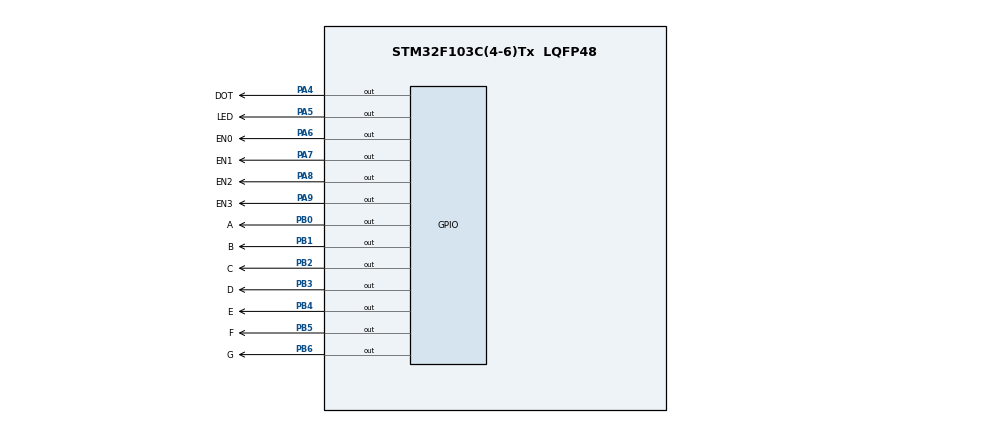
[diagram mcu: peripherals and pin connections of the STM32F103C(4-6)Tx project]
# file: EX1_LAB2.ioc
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Mcu.Family=STM32F1
Mcu.Name=STM32F103C(4-6)Tx
Mcu.Package=LQFP48
NVIC.PriorityGroup=NVIC_PRIORITYGROUP_4
NVIC.TIM2_IRQn=true\:0\:0\:false\:false\:true\:true\:true\:true
PA4.GPIO_Label=DOT
PA4.PinState=GPIO_PIN_SET
PA4.Signal=GPIO_Output
PA5.GPIO_Label=LED
PA5.Signal=GPIO_Output
PA6.GPIO_Label=EN0
PA6.PinState=GPIO_PIN_SET
PA6.Signal=GPIO_Output
PA7.GPIO_Label=EN1
PA7.PinState=GPIO_PIN_SET
PA7.Signal=GPIO_Output
PA8.GPIO_Label=EN2
PA8.PinState=GPIO_PIN_SET
PA8.Signal=GPIO_Output
PA9.GPIO_Label=EN3
PA9.PinState=GPIO_PIN_SET
PA9.Signal=GPIO_Output
PB0.GPIO_Label=A
PB0.PinState=GPIO_PIN_SET
PB0.Signal=GPIO_Output
PB1.GPIO_Label=B
PB1.PinState=GPIO_PIN_SET
PB1.Signal=GPIO_Output
PB2.GPIO_Label=C
PB2.PinState=GPIO_PIN_SET
PB2.Signal=GPIO_Output
PB3.GPIO_Label=D
PB3.PinState=GPIO_PIN_SET
PB3.Signal=GPIO_Output
PB4.GPIO_Label=E
PB4.PinState=GPIO_PIN_SET
PB4.Signal=GPIO_Output
PB5.GPIO_Label=F
PB5.PinState=GPIO_PIN_SET
PB5.Signal=GPIO_Output
PB6.GPIO_Label=G
PB6.PinState=GPIO_PIN_SET
PB6.Signal=GPIO_Output
ProjectManager.HeapSize=0x200
ProjectManager.StackSize=0x400
ProjectManager.TargetToolchain=STM32CubeIDE
RCC.APB1Freq_Value=8000000
RCC.APB2Freq_Value=8000000
TIM2.Period=9
TIM2.Prescaler=7999
VP_SYS_VS_ND.Mode=No_Debug
VP_TIM2_VS_ClockSourceINT.Mode=Internal
board=custom

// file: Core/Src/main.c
/* USER CODE BEGIN Header */
/**
  ******************************************************************************
  * @file           : main.c
  * @brief          : Main program body
  ******************************************************************************
  * @attention
  *
  * Copyright (c) 2025 STMicroelectronics.
  * All rights reserved.
  *
  * This software is licensed under terms that can be found in the LICENSE file
  * in the root directory of this software component.
  * If no LICENSE file comes with this software, it is provided AS-IS.
  *
  ******************************************************************************
  */
/* USER CODE END Header */
#include "main.h"

TIM_HandleTypeDef htim2;

void SystemClock_Config(void);
static void MX_GPIO_Init(void);
static void MX_TIM2_Init(void);

/* USER CODE BEGIN 0 */
#define MAX_LED 4U
#define SCAN_TICKS 25U
#define DOT_TICKS 100U

static volatile uint8_t index_led = 0U;
static volatile uint16_t scan_counter = 0U;
static volatile uint16_t dot_counter = 0U;

#define SEG_ALL_PINS (GPIO_PIN_0 | GPIO_PIN_1 | GPIO_PIN_2 | \
                      GPIO_PIN_3 | GPIO_PIN_4 | GPIO_PIN_5 | \
                      GPIO_PIN_6)

#define DIGIT_ALL_PINS (GPIO_PIN_6 | GPIO_PIN_7 | \
                        GPIO_PIN_8 | GPIO_PIN_9)

static const uint8_t segPattern[10] =
{
    0x3FU, // 0
    0x06U, // 1
    0x5BU, // 2
    0x4FU, // 3
    0x66U, // 4
    0x6DU, // 5
    0x7DU, // 6
    0x07U, // 7
    0x7FU, // 8
    0x6FU  // 9
};

static const uint16_t digitEnablePins[MAX_LED] =
{
    GPIO_PIN_6, // index 0 → EN0 → PA6
    GPIO_PIN_7, // index 1 → EN1 → PA7
    GPIO_PIN_8, // index 2 → EN2 → PA8
    GPIO_PIN_9  // index 3 → EN3 → PA9
};

static const uint8_t ledBuffer[MAX_LED] =
{
    1U, // Digit 0
    2U, // Digit 1
    3U, // Digit 2
    0U  // Digit 3
};

static void disableAllDigits(void)
{
    HAL_GPIO_WritePin(
        GPIOA,
        DIGIT_ALL_PINS,
        GPIO_PIN_SET
    );
}

static void display7SEG(uint8_t number)
{
    if (number > 9U)
    {
        return;
    }

    HAL_GPIO_WritePin(
        GPIOB,
        SEG_ALL_PINS,
        GPIO_PIN_SET
    );

    HAL_GPIO_WritePin(
        GPIOB,
        (uint16_t)segPattern[number],
        GPIO_PIN_RESET
    );
}

static void update7SEG(uint8_t index)
{
    if (index > MAX_LED)
    {
        return;
    }

    disableAllDigits();
    display7SEG(ledBuffer[index]);
    HAL_GPIO_WritePin(
        GPIOA,
        digitEnablePins[index],
        GPIO_PIN_RESET
    );
}

/* USER CODE END 0 */

int main(void)
{

  /* MCU Configuration--------------------------------------------------------*/

  /* Reset of all peripherals, Initializes the Flash interface and the Systick. */
  HAL_Init();

  /* Configure the system clock */
  SystemClock_Config();

  /* Initialize all configured peripherals */
  MX_GPIO_Init();
  MX_TIM2_Init();
  /* USER CODE BEGIN 2 */
  disableAllDigits();
  HAL_TIM_Base_Start_IT(&htim2);

  HAL_GPIO_WritePin(
      GPIOA,
      GPIO_PIN_4,
      GPIO_PIN_SET
  );

  index_led = 0U;
  update7SEG(index_led);
  /* USER CODE END 2 */

  /* Infinite loop */
  while (1)
  {

  }
}

void SystemClock_Config(void)
{
  RCC_OscInitTypeDef RCC_OscInitStruct = {0};
  RCC_ClkInitTypeDef RCC_ClkInitStruct = {0};

  /** Initializes the RCC Oscillators according to the specified parameters
  * in the RCC_OscInitTypeDef structure.
  */
  RCC_OscInitStruct.OscillatorType = RCC_OSCILLATORTYPE_HSI;
  RCC_OscInitStruct.HSIState = RCC_HSI_ON;
  RCC_OscInitStruct.HSICalibrationValue = RCC_HSICALIBRATION_DEFAULT;
  RCC_OscInitStruct.PLL.PLLState = RCC_PLL_NONE;
  if (HAL_RCC_OscConfig(&RCC_OscInitStruct) != HAL_OK)
  {
    Error_Handler();
  }

  /** Initializes the CPU, AHB and APB buses clocks
  */
  RCC_ClkInitStruct.ClockType = RCC_CLOCKTYPE_HCLK|RCC_CLOCKTYPE_SYSCLK
                              |RCC_CLOCKTYPE_PCLK1|RCC_CLOCKTYPE_PCLK2;
  RCC_ClkInitStruct.SYSCLKSource = RCC_SYSCLKSOURCE_HSI;
  RCC_ClkInitStruct.AHBCLKDivider = RCC_SYSCLK_DIV1;
  RCC_ClkInitStruct.APB1CLKDivider = RCC_HCLK_DIV1;
  RCC_ClkInitStruct.APB2CLKDivider = RCC_HCLK_DIV1;

  if (HAL_RCC_ClockConfig(&RCC_ClkInitStruct, FLASH_LATENCY_0) != HAL_OK)
  {
    Error_Handler();
  }
}

static void MX_TIM2_Init(void)
{

  TIM_ClockConfigTypeDef sClockSourceConfig = {0};
  TIM_MasterConfigTypeDef sMasterConfig = {0};

  htim2.Instance = TIM2;
  htim2.Init.Prescaler = 7999;
  htim2.Init.CounterMode = TIM_COUNTERMODE_UP;
  htim2.Init.Period = 9;
  htim2.Init.ClockDivision = TIM_CLOCKDIVISION_DIV1;
  htim2.Init.AutoReloadPreload = TIM_AUTORELOAD_PRELOAD_DISABLE;
  if (HAL_TIM_Base_Init(&htim2) != HAL_OK)
  {
    Error_Handler();
  }
  sClockSourceConfig.ClockSource = TIM_CLOCKSOURCE_INTERNAL;
  if (HAL_TIM_ConfigClockSource(&htim2, &sClockSourceConfig) != HAL_OK)
  {
    Error_Handler();
  }
  sMasterConfig.MasterOutputTrigger = TIM_TRGO_RESET;
  sMasterConfig.MasterSlaveMode = TIM_MASTERSLAVEMODE_DISABLE;
  if (HAL_TIMEx_MasterConfigSynchronization(&htim2, &sMasterConfig) != HAL_OK)
  {
    Error_Handler();
  }

}

static void MX_GPIO_Init(void)
{
  GPIO_InitTypeDef GPIO_InitStruct = {0};

  /* GPIO Ports Clock Enable */
  __HAL_RCC_GPIOA_CLK_ENABLE();
  __HAL_RCC_GPIOB_CLK_ENABLE();

  /*Configure GPIO pin Output Level */
  HAL_GPIO_WritePin(GPIOA, DOT_Pin|EN0_Pin|EN1_Pin|EN2_Pin
                          |EN3_Pin, GPIO_PIN_SET);

  /*Configure GPIO pin Output Level */
  HAL_GPIO_WritePin(LED_GPIO_Port, LED_Pin, GPIO_PIN_RESET);

  /*Configure GPIO pin Output Level */
  HAL_GPIO_WritePin(GPIOB, A_Pin|B_Pin|C_Pin|D_Pin
                          |E_Pin|F_Pin|G_Pin, GPIO_PIN_SET);

  /*Configure GPIO pins : DOT_Pin LED_Pin EN0_Pin EN1_Pin
                           EN2_Pin EN3_Pin */
  GPIO_InitStruct.Pin = DOT_Pin|LED_Pin|EN0_Pin|EN1_Pin
                          |EN2_Pin|EN3_Pin;
  GPIO_InitStruct.Mode = GPIO_MODE_OUTPUT_PP;
  GPIO_InitStruct.Pull = GPIO_NOPULL;
  GPIO_InitStruct.Speed = GPIO_SPEED_FREQ_LOW;
  HAL_GPIO_Init(GPIOA, &GPIO_InitStruct);

  /*Configure GPIO pins : A_Pin B_Pin C_Pin D_Pin
                           E_Pin F_Pin G_Pin */
  GPIO_InitStruct.Pin = A_Pin|B_Pin|C_Pin|D_Pin
                          |E_Pin|F_Pin|G_Pin;
  GPIO_InitStruct.Mode = GPIO_MODE_OUTPUT_PP;
  GPIO_InitStruct.Pull = GPIO_NOPULL;
  GPIO_InitStruct.Speed = GPIO_SPEED_FREQ_LOW;
  HAL_GPIO_Init(GPIOB, &GPIO_InitStruct);

}

/* USER CODE BEGIN 4 */
void HAL_TIM_PeriodElapsedCallback(TIM_HandleTypeDef *htim)
{
    if (htim->Instance == TIM2)
    {
        scan_counter++;
        dot_counter++;

        if (scan_counter >= SCAN_TICKS)
        {
            scan_counter = 0U;
            index_led++;

            if (index_led >= MAX_LED)
            {
                index_led = 0U;
            }

            update7SEG(index_led);
        }

        if (dot_counter >= DOT_TICKS)
        {
            dot_counter = 0U;

            HAL_GPIO_TogglePin(
                GPIOA,
                GPIO_PIN_4
            );
        }
    }
}
/* USER CODE END 4 */

void Error_Handler(void)
{
  __disable_irq();
  while (1)
  {
  }
}
